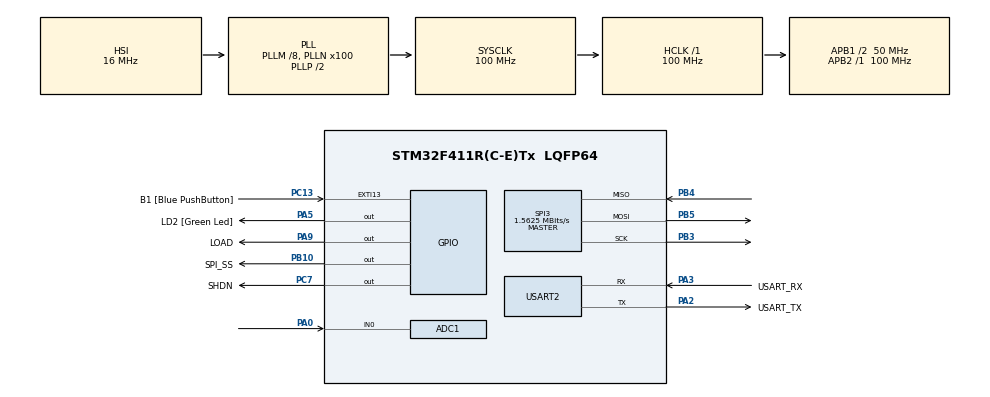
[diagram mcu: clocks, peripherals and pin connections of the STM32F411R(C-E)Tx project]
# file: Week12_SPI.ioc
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Mcu.Family=STM32F4
PB10.PinState=GPIO_PIN_SET
RCC.CortexFreq_Value=100000000
SPI3.Direction=SPI_DIRECTION_2LINES
SPI3.VirtualType=VM_MASTER
PA14.GPIO_Label=TCK
RCC.SYSCLKSource=RCC_SYSCLKSOURCE_PLLCLK
ProjectManager.StackSize=0x400
NVIC.ADC_IRQn=true\:0\:0\:false\:false\:true\:true\:true
PH0\ -\ OSC_IN.Signal=RCC_OSC_IN
RCC.HCLKFreq_Value=100000000
RCC.APB2TimFreq_Value=100000000
TIM3.Period=100
Dma.ADC1.0.Direction=DMA_PERIPH_TO_MEMORY
PC7.Signal=GPIO_Output
ADC1.InjNumberOfConversion=1
NVIC.DMA2_Stream0_IRQn=true\:0\:0\:false\:false\:true\:false\:true
Dma.ADC1.0.MemDataAlignment=DMA_MDATAALIGN_HALFWORD
RCC.AHBFreq_Value=100000000
SPI3.DataSize=SPI_DATASIZE_16BIT
NVIC.TIM1_TRG_COM_TIM11_IRQn=true\:0\:0\:false\:false\:true\:true\:true
RCC.HSE_VALUE=8000000
PB3.Mode=Full_Duplex_Master
ADC1.ScanConvMode=ENABLE
PC13-ANTI_TAMP.Signal=GPXTI13
PB4.Mode=Full_Duplex_Master
PC14-OSC32_IN.Mode=LSE-External-Oscillator
PA14.Mode=Serial_Wire
TIM3.Prescaler=99
Dma.ADC1.0.PeriphInc=DMA_PINC_DISABLE
PB5.Mode=Full_Duplex_Master
PC7.PinState=GPIO_PIN_SET
SH.ADCx_IN0.0=ADC1_IN0,IN0
RCC.FLatency-AdvancedSettings=FLASH_LATENCY_3
Mcu.Package=LQFP64
SPI3.Mode=SPI_MODE_MASTER
USART2.VirtualMode=VM_ASYNC
PA2.GPIO_Label=USART_TX
NVIC.SPI3_IRQn=true\:0\:0\:false\:false\:true\:true\:true
RCC.APB1TimFreq_Value=100000000
Dma.ADC1.0.FIFOMode=DMA_FIFOMODE_DISABLE
Dma.Request0=ADC1
ADC1.SamplingTime-2\#ChannelInjectedConversion=ADC_SAMPLETIME_3CYCLES
VP_TIM3_VS_ClockSourceINT.Mode=Internal
PB4.Signal=SPI3_MISO
PA3.Signal=USART2_RX
PC15-OSC32_OUT.Mode=LSE-External-Oscillator
Dma.ADC1.0.Instance=DMA2_Stream0
PC13-ANTI_TAMP.GPIO_Label=B1 [Blue PushButton]
PA9.GPIO_Label=LOAD
PH1\ -\ OSC_OUT.Mode=HSE-External-Clock-Source
TIM11.Prescaler=99
RCC.APB1CLKDivider=RCC_HCLK_DIV2
PC14-OSC32_IN.Signal=RCC_OSC32_IN
NVIC.USART2_IRQn=true\:0\:0\:false\:false\:true\:true\:true
PA0-WKUP.Signal=ADCx_IN0
VP_TIM11_VS_ClockSourceINT.Mode=Enable_Timer
PA13.Signal=SYS_JTMS-SWDIO
PA3.Mode=Asynchronous
Dma.ADC1.0.PeriphDataAlignment=DMA_PDATAALIGN_HALFWORD
PH0\ -\ OSC_IN.Mode=HSE-External-Clock-Source
ProjectManager.TargetToolchain=STM32CubeIDE
PB10.GPIO_Label=SPI_SS
Dma.ADC1.0.Mode=DMA_CIRCULAR
ADC1.Channel-2\#ChannelInjectedConversion=ADC_CHANNEL_0
Dma.ADC1.0.Priority=DMA_PRIORITY_LOW
PA9.Signal=GPIO_Output
ADC1.InjectedOffset-2\#ChannelInjectedConversion=0
ADC1.Channel-1\#ChannelRegularConversion=ADC_CHANNEL_0
PA9.PinState=GPIO_PIN_SET
PC15-OSC32_OUT.Signal=RCC_OSC32_OUT
PB10.Signal=GPIO_Output
PA5.Signal=GPIO_Output
PH1\ -\ OSC_OUT.Signal=RCC_OSC_OUT
board=NUCLEO-F411RE
RCC.VCOOutputFreq_Value=200000000
RCC.APB2Freq_Value=100000000
SPI3.CalculateBaudRate=1.5625 MBits/s
SPI3.BaudRatePrescaler=SPI_BAUDRATEPRESCALER_32
ADC1.DMAContinuousRequests=ENABLE
PA13.Mode=Serial_Wire
Mcu.Name=STM32F411R(C-E)Tx
PA2.Signal=USART2_TX
PA13.GPIO_Label=TMS
ADC1.ExternalTrigConv=ADC_EXTERNALTRIGCONV_T3_TRGO
PC7.GPIO_Label=SHDN
RCC.48MHZClocksFreq_Value=50000000
PB3.Signal=SPI3_SCK
ADC1.SamplingTime-1\#ChannelRegularConversion=ADC_SAMPLETIME_3CYCLES
RCC.SYSCLKFreq_VALUE=100000000
PB5.Signal=SPI3_MOSI
ADC1.master=1
PA5.GPIO_Label=LD2 [Green Led]
PC13-ANTI_TAMP.GPIO_ModeDefaultEXTI=GPIO_MODE_IT_FALLING
ADC1.Rank-1\#ChannelRegularConversion=1
PA14.Signal=SYS_JTCK-SWCLK
Dma.ADC1.0.MemInc=DMA_MINC_ENABLE
ProjectManager.HeapSize=0x200
RCC.HSI_VALUE=16000000
NVIC.PriorityGroup=NVIC_PRIORITYGROUP_0
ADC1.NbrOfConversionFlag=1
RCC.PLLM=8
RCC.PLLN=100
PA2.Mode=Asynchronous
TIM3.TIM_MasterOutputTrigger=TIM_TRGO_UPDATE
RCC.APB1Freq_Value=50000000
PA3.GPIO_Label=USART_RX
ADC1.InjectedRank-2\#ChannelInjectedConversion=1

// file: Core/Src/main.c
/* USER CODE BEGIN Header */
/**
 ******************************************************************************
 * @file           : main.c
 * @brief          : Main program body
 ******************************************************************************
 * @attention
 *
 * <h2><center>&copy; Copyright (c) 2021 STMicroelectronics.
 * All rights reserved.</center></h2>
 *
 * This software component is licensed by ST under BSD 3-Clause license,
 * the "License"; You may not use this file except in compliance with the
 * License. You may obtain a copy of the License at:
 *                        opensource.org/licenses/BSD-3-Clause
 *
 ******************************************************************************
 */
/* USER CODE END Header */
#include "main.h"

/* USER CODE BEGIN Includes */
#include <math.h>
#include <stdio.h>
#include <string.h>
/* USER CODE END Includes */

ADC_HandleTypeDef hadc1;
DMA_HandleTypeDef hdma_adc1;

SPI_HandleTypeDef hspi3;

TIM_HandleTypeDef htim3;
TIM_HandleTypeDef htim11;

UART_HandleTypeDef huart2;

/* USER CODE BEGIN PV */
// Setup Board output ------------------------------------------------------------------------------------
int WaveFreq[3] = {10 ,10 ,10};			// sawtooth ,sine , square in 1Hz
int WaveVhigh[3] = {33 ,33 ,33};	// sawtooth ,sine , square
int WaveVlow[3] = {0 ,0 ,0};	// sawtooth ,sine , square
float Rad = 0;				// for sine wave
uint8_t WaveSawIsUp = 1;	// for sawtooth wave
int DutyCycle = 50;		// for square wave
uint32_t WaveTimestamp = 0;

float Vout = 0;

// Setup UART --------------------------------------------------------------------------------------------
char TxDataBuffer[32] = { 0 };
char RxDataBuffer[32] = { 0 };

// Setup ADC ---------------------------------------------------------------------------------------------
uint16_t ADCin = 0;
uint64_t _micro = 0;		// time counter

// MCP4922 Communication format --------------------------------------------------------------------------
uint16_t dataOut = 0;		// data
uint8_t DACConfig = 0b0011;	// start form 1xdata

// Setup State -------------------------------------------------------------------------------------------
typedef enum{
	selectWave 		 = 0,
	WaitSelect 		 = 9,
	WaveSawtooth 	 = 10,
	WaitSawSelect 	 = 15,
	WaveSine 		 = 20,
	WaitSineSelect 	 = 25,
	WaveSquare 		 = 30,
	WaitSquareSelect = 35
}Mode;
/* USER CODE END PV */

void SystemClock_Config(void);
static void MX_GPIO_Init(void);
static void MX_DMA_Init(void);
static void MX_USART2_UART_Init(void);
static void MX_ADC1_Init(void);
static void MX_SPI3_Init(void);
static void MX_TIM3_Init(void);
static void MX_TIM11_Init(void);
/* USER CODE BEGIN PFP */
void MCP4922SetOutput(uint8_t Config, uint16_t DACOutput);
uint64_t micros();
int16_t UARTRecieveIT();
/* USER CODE END PFP */

int main(void)
{

  /* MCU Configuration--------------------------------------------------------*/

  /* Reset of all peripherals, Initializes the Flash interface and the Systick. */
  HAL_Init();

  /* Configure the system clock */
  SystemClock_Config();

  /* Initialize all configured peripherals */
  MX_GPIO_Init();
  MX_DMA_Init();
  MX_USART2_UART_Init();
  MX_ADC1_Init();
  MX_SPI3_Init();
  MX_TIM3_Init();
  MX_TIM11_Init();
  /* USER CODE BEGIN 2 */
	HAL_TIM_Base_Start(&htim3);
	HAL_TIM_Base_Start_IT(&htim11);
	HAL_ADC_Start_DMA(&hadc1, (uint32_t*) &ADCin, 1);

	HAL_GPIO_WritePin(LOAD_GPIO_Port, LOAD_Pin, GPIO_PIN_RESET);
int	State = selectWave;

	{ // for local parameter --> more memories
		char temp[] = "Turn on mini-function generator and osciloscope \r\n";
		HAL_UART_Transmit(&huart2, (uint8_t*) temp, strlen(temp), 100);
	}
  /* USER CODE END 2 */

  /* Infinite loop */
  /* USER CODE BEGIN WHILE */
	while (1)
	{
// Communication part -------------------------------------------------------------------------------------
		HAL_UART_Receive_IT(&huart2, (uint8_t*) RxDataBuffer, 32);
		int16_t inputchar = UARTRecieveIT();
		if (inputchar != -1) {

			sprintf(TxDataBuffer, "ReceivedChar:[%c]\r\n", inputchar);
			HAL_UART_Transmit(&huart2, (uint8_t*) TxDataBuffer,strlen(TxDataBuffer), 1000);
		}// for check by looking at monitor
// GUI part -----------------------------------------------------------------------------------------------
		switch(State){
			case(selectWave):
				sprintf(TxDataBuffer, "----Please select wave form----\n\r");
				HAL_UART_Transmit(&huart2, (uint8_t*) TxDataBuffer,strlen(TxDataBuffer), 100);
				sprintf(TxDataBuffer, "[1]:Sawtooth     [2]:Sine     [3]:Square \n\n\r");
				HAL_UART_Transmit(&huart2, (uint8_t*) TxDataBuffer,strlen(TxDataBuffer), 100);
				State = WaitSelect;
				break;
			case(WaitSelect):
					dataOut = 0;
				if (hspi3.State == HAL_SPI_STATE_READY && HAL_GPIO_ReadPin(SPI_SS_GPIO_Port, SPI_SS_Pin)== GPIO_PIN_SET)
					{
						MCP4922SetOutput(DACConfig, dataOut);
					}
				switch(inputchar){
					case -1:
						break;
					case '1':
						State = WaveSawtooth;
						break;
					case '2':
						State = WaveSine;
						break;
					case '3':
						State = WaveSquare;
						break;
					default:
						sprintf(TxDataBuffer, "press only [1] ,[2] or [3] \n\n\r");
						HAL_UART_Transmit(&huart2, (uint8_t*) TxDataBuffer,strlen(TxDataBuffer), 100);
						State = WaitSelect;
						break;
					}
				break;
// Sawtooth wave ---------------------------------------------------------------------------------------
			case(WaveSawtooth):
				if(WaveSawIsUp == 1){
					sprintf(TxDataBuffer, "Wave form: Sawtooth\n\r");
					HAL_UART_Transmit(&huart2, (uint8_t*) TxDataBuffer,strlen(TxDataBuffer), 100);
					sprintf(TxDataBuffer, "[-a.s] V_high: %d.%d V [+q.w]		[-d.f] V_low: %d.%d V [+e.r]\n\r",WaveVhigh[0]/10 ,WaveVhigh[0]%10 ,WaveVlow[0]/10 ,WaveVlow[0]%10);
					HAL_UART_Transmit(&huart2, (uint8_t*) TxDataBuffer,strlen(TxDataBuffer), 1000);
					sprintf(TxDataBuffer, "[-g.h] Frequency: %d.%d Hz [+t.y]	[z] type: Up sawtooth\n\r",WaveFreq[0]/10 ,WaveFreq[0]%10);
					HAL_UART_Transmit(&huart2, (uint8_t*) TxDataBuffer,strlen(TxDataBuffer), 1000);
					sprintf(TxDataBuffer, "[x] back to select wave from\n\n\r");
					HAL_UART_Transmit(&huart2, (uint8_t*) TxDataBuffer,strlen(TxDataBuffer), 100);
					dataOut = WaveVlow[1]*4096/33;
				}
				else if(WaveSawIsUp == 0){
					sprintf(TxDataBuffer, "Wave form: Sawtooth\n\r");
					HAL_UART_Transmit(&huart2, (uint8_t*) TxDataBuffer,strlen(TxDataBuffer), 100);
					sprintf(TxDataBuffer, "[-a.s] V_high: %d.%d V [+q.w]		[-d.f] V_low: %d.%d V [+e.r]\n\r",WaveVhigh[0]/10 ,WaveVhigh[0]%10 ,WaveVlow[0]/10 ,WaveVlow[0]%10);
					HAL_UART_Transmit(&huart2, (uint8_t*) TxDataBuffer,strlen(TxDataBuffer), 1000);
					sprintf(TxDataBuffer, "[-g.h] Frequency: %d.%d Hz [+t.y]	[z] type: Down sawtooth\n\r",WaveFreq[0]/10 ,WaveFreq[0]%10);
					HAL_UART_Transmit(&huart2, (uint8_t*) TxDataBuffer,strlen(TxDataBuffer), 1000);
					sprintf(TxDataBuffer, "[x] back to select wave from\n\n\r");
					HAL_UART_Transmit(&huart2, (uint8_t*) TxDataBuffer,strlen(TxDataBuffer), 100);
					dataOut = WaveVhigh[1]*4096/33;
				}
				WaveTimestamp = micros();
				State = WaitSawSelect;
				break;
			case(WaitSawSelect):
				if(WaveSawIsUp == 1)
				{
					if (micros() - WaveTimestamp >= (1000000/(((WaveVhigh[0] - WaveVlow[0])*4096/(float)33)*(WaveFreq[0]/(float)10))))
					{
						WaveTimestamp = micros();
						if(dataOut >= WaveVhigh[0]*4096/33)
						{
							dataOut = WaveVlow[0]*4096/33;
						}
						else{
							dataOut += 1;
						}
						if (hspi3.State == HAL_SPI_STATE_READY && HAL_GPIO_ReadPin(SPI_SS_GPIO_Port, SPI_SS_Pin) == GPIO_PIN_SET)
						{
							MCP4922SetOutput(DACConfig, dataOut);
						}
					}
				}
				else
				{
					if (micros() - WaveTimestamp >= (1000000/(((WaveVhigh[0] - WaveVlow[0])*4096/(float)33)*(WaveFreq[0]/(float)10))))
					{
						WaveTimestamp = micros();
						if(dataOut <= WaveVlow[0]*4096/33)
						{
							dataOut = WaveVhigh[0]*4096/33;
						}
						else{
							dataOut -= 1;
						}
						if (hspi3.State == HAL_SPI_STATE_READY && HAL_GPIO_ReadPin(SPI_SS_GPIO_Port, SPI_SS_Pin) == GPIO_PIN_SET)
						{
							MCP4922SetOutput(DACConfig, dataOut);
						}
					}
				}
				switch(inputchar){
					case -1:
						break;
					case 'a':
						WaveVhigh[0] -= 10;
						if(WaveVhigh[0] <= WaveVlow[0])
						{
							sprintf(TxDataBuffer, "V_high can not be less than or equal to V_low\n\n\r");
							HAL_UART_Transmit(&huart2, (uint8_t*) TxDataBuffer,strlen(TxDataBuffer), 100);
							WaveVhigh[0] += 10;
							dataOut = WaveVlow[0]*4096/33;
						}
						State = WaveSawtooth;
						break;
					case 's':
						WaveVhigh[0] -= 1;
						if(WaveVhigh[0] <= WaveVlow[0])
						{
							sprintf(TxDataBuffer, "V_high can not be less than or equal to V_low\n\n\r");
							HAL_UART_Transmit(&huart2, (uint8_t*) TxDataBuffer,strlen(TxDataBuffer), 100);
							WaveVhigh[0] += 1;
							dataOut = WaveVlow[0]*4096/33;
						}
						State = WaveSawtooth;
						break;
					case 'q':
						WaveVhigh[0] += 10;
						if(WaveVhigh[0] > 33)
						{
							sprintf(TxDataBuffer, "V_high can not be more than 3.3 V\n\n\r");
							HAL_UART_Transmit(&huart2, (uint8_t*) TxDataBuffer,strlen(TxDataBuffer), 100);
							WaveVhigh[0] -= 10;
							dataOut = WaveVlow[0]*4096/33;
						}
						State = WaveSawtooth;
						break;
					case 'w':
						WaveVhigh[0] += 1;
						if(WaveVhigh[0] > 33)
						{
							sprintf(TxDataBuffer, "V_high can not be more than 3.3 V\n\n\r");
							HAL_UART_Transmit(&huart2, (uint8_t*) TxDataBuffer,strlen(TxDataBuffer), 100);
							WaveVhigh[0] -= 1;
							dataOut = WaveVlow[0]*4096/33;
						}
						State = WaveSawtooth;
						break;
					case 'd':
						WaveVlow[0] -= 10;
						if(WaveVlow[0] < 0)
						{
							sprintf(TxDataBuffer, "V_low can not be less than 0.0 V\n\n\r");
							HAL_UART_Transmit(&huart2, (uint8_t*) TxDataBuffer,strlen(TxDataBuffer), 100);
							WaveVlow[0] += 10;
							dataOut = WaveVlow[0]*4096/33;
						}
						State = WaveSawtooth;
						break;
					case 'f':
						WaveVlow[0] -= 1;
						if(WaveVlow[0] < 0)
						{
							sprintf(TxDataBuffer, "V_low can not be less than 0.0 V\n\n\r");
							HAL_UART_Transmit(&huart2, (uint8_t*) TxDataBuffer,strlen(TxDataBuffer), 100);
							WaveVlow[0] += 1;
							dataOut = WaveVlow[0]*4096/33;
						}
						State = WaveSawtooth;
						break;
					case 'e':
						WaveVlow[0] += 10;
						if(WaveVlow[0] >= WaveVhigh[0])
						{
							sprintf(TxDataBuffer, "V_low can not be more than or equal to V_high\n\n\r");
							HAL_UART_Transmit(&huart2, (uint8_t*) TxDataBuffer,strlen(TxDataBuffer), 100);
							WaveVlow[0] -= 10;
							dataOut = WaveVlow[0]*4096/33;
						}
						State = WaveSawtooth;
						break;
					case 'r':
						WaveVlow[0] += 1;
						if(WaveVlow[0] >= WaveVhigh[0])
						{
							sprintf(TxDataBuffer, "V_low can not be more than or equal to V_high\n\n\r");
							HAL_UART_Transmit(&huart2, (uint8_t*) TxDataBuffer,strlen(TxDataBuffer), 100);
							WaveVlow[0] -= 1;
						}
						State = WaveSawtooth;
						break;
					case 'g':
						WaveFreq[0] -= 10;
						if(WaveFreq[0] < 0)
						{
							sprintf(TxDataBuffer, "Frequency can not be lass than 0 Hz\n\n\r");
							HAL_UART_Transmit(&huart2, (uint8_t*) TxDataBuffer,strlen(TxDataBuffer), 100);
							WaveFreq[0] += 10;
						}
						State = WaveSawtooth;
						break;
					case 'h':
						WaveFreq[0] -= 1;
						if(WaveFreq[0] < 0)
						{
							sprintf(TxDataBuffer, "Frequency can not be lass than 0 Hz\n\n\r");
							HAL_UART_Transmit(&huart2, (uint8_t*) TxDataBuffer,strlen(TxDataBuffer), 100);
							WaveFreq[0] += 1;
						}
						State = WaveSawtooth;
						break;
					case 't':
						WaveFreq[0] += 10;
						if(WaveFreq[0] > 100)
						{
							sprintf(TxDataBuffer, "Frequency can not be more than 10.0 Hz\n\n\r");
							HAL_UART_Transmit(&huart2, (uint8_t*) TxDataBuffer,strlen(TxDataBuffer), 100);
							WaveFreq[0] -= 10;
						}
						State = WaveSawtooth;
						break;
					case 'y':
						WaveFreq[0] += 1;
						if(WaveFreq[0] > 100)
						{
							sprintf(TxDataBuffer, "Frequency can not be more than 10.0 Hz\n\n\r");
							HAL_UART_Transmit(&huart2, (uint8_t*) TxDataBuffer,strlen(TxDataBuffer), 100);
							WaveFreq[0] -= 1;
						}
						State = WaveSawtooth;
						break;
					case 'z':
						if(WaveSawIsUp == 0){
							WaveSawIsUp = 1;
						}
						else{
							WaveSawIsUp = 0;
						}
						State = WaveSawtooth;
						break;
					case 'x':
						State = selectWave;
						break;
				State = WaitSawSelect;
				break;
		}break;

// Sine wave ---------------------------------------------------------------------------------------
			case(WaveSine):
				sprintf(TxDataBuffer, "Wave form: Sine\n\r");
				HAL_UART_Transmit(&huart2, (uint8_t*) TxDataBuffer,strlen(TxDataBuffer), 100);
				sprintf(TxDataBuffer, "[-a.s] V_high: %d.%d V [+q.w]		[-d.f] V_low: %d.%d V [+e.r]\n\r",WaveVhigh[1]/10 ,WaveVhigh[1]%10 ,WaveVlow[1]/10 ,WaveVlow[1]%10);
				HAL_UART_Transmit(&huart2, (uint8_t*) TxDataBuffer,strlen(TxDataBuffer), 1000);
				sprintf(TxDataBuffer, "[-g.h] Frequency: %d.%d Hz [+t.y]\n\r",WaveFreq[1]/10 ,WaveFreq[1]%10);
				HAL_UART_Transmit(&huart2, (uint8_t*) TxDataBuffer,strlen(TxDataBuffer), 1000);
				sprintf(TxDataBuffer, "[x] back to select wave from\n\n\r");
				HAL_UART_Transmit(&huart2, (uint8_t*) TxDataBuffer,strlen(TxDataBuffer), 100);
				dataOut = WaveVlow[1]*4096/33;
				WaveTimestamp = micros();
				State = WaitSineSelect;
				break;
			case(WaitSineSelect):
				if (micros() - WaveTimestamp >= 1000/6.28) // convert to 1 second in 2pi
				{
					WaveTimestamp = micros();
					Rad += 0.001;
					dataOut = (sin(Rad*WaveFreq[1]/10) * (((WaveVhigh[1] - WaveVlow[1])*4096/33)/2)) + (((WaveVhigh[1] - WaveVlow[1])*4096/33)/2) + (WaveVlow[1]*4096/33);
					if (hspi3.State == HAL_SPI_STATE_READY && HAL_GPIO_ReadPin(SPI_SS_GPIO_Port, SPI_SS_Pin) == GPIO_PIN_SET)
					{
						MCP4922SetOutput(DACConfig, dataOut);
					}
				}
				switch(inputchar){
					case -1:
						break;
					case 'a':
						WaveVhigh[1] -= 10;
						if(WaveVhigh[1] <= WaveVlow[1])
						{
							sprintf(TxDataBuffer, "V_high can not be less than or equal to V_low\n\n\r");
							HAL_UART_Transmit(&huart2, (uint8_t*) TxDataBuffer,strlen(TxDataBuffer), 100);
							WaveVhigh[1] += 10;
						}
						State = WaveSine;
						break;
					case 's':
						WaveVhigh[1] -= 1;
						if(WaveVhigh[1] <= WaveVlow[1])
						{
							sprintf(TxDataBuffer, "V_high can not be less than or equal to V_low\n\n\r");
							HAL_UART_Transmit(&huart2, (uint8_t*) TxDataBuffer,strlen(TxDataBuffer), 100);
							WaveVhigh[1] += 1;
						}
						State = WaveSine;
						break;
					case 'q':
						WaveVhigh[1] += 10;
						if(WaveVhigh[1] > 33)
						{
							sprintf(TxDataBuffer, "V_high can not be more than 3.3 V\n\n\r");
							HAL_UART_Transmit(&huart2, (uint8_t*) TxDataBuffer,strlen(TxDataBuffer), 100);
							WaveVhigh[1] -= 10;
						}
						State = WaveSine;
						break;
					case 'w':
						WaveVhigh[1] += 1;
						if(WaveVhigh[1] > 33)
						{
							sprintf(TxDataBuffer, "V_high can not be more than 3.3 V\n\n\r");
							HAL_UART_Transmit(&huart2, (uint8_t*) TxDataBuffer,strlen(TxDataBuffer), 100);
							WaveVhigh[1] -= 1;
						}
						State = WaveSine;
						break;
					case 'd':
						WaveVlow[1] -= 10;
						if(WaveVlow[1] < 0)
						{
							sprintf(TxDataBuffer, "V_low can not be less than 0.0 V\n\n\r");
							HAL_UART_Transmit(&huart2, (uint8_t*) TxDataBuffer,strlen(TxDataBuffer), 100);
							WaveVlow[1] += 10;
						}
						State = WaveSine;
						break;
					case 'f':
						WaveVlow[1] -= 1;
						if(WaveVlow[1] < 0)
						{
							sprintf(TxDataBuffer, "V_low can not be less than 0.0 V\n\n\r");
							HAL_UART_Transmit(&huart2, (uint8_t*) TxDataBuffer,strlen(TxDataBuffer), 100);
							WaveVlow[1] += 1;
						}
						State = WaveSine;
						break;
					case 'e':
						WaveVlow[1] += 10;
						if(WaveVlow[1] >= WaveVhigh[1])
						{
							sprintf(TxDataBuffer, "V_low can not be more than or equal to V_high\n\n\r");
							HAL_UART_Transmit(&huart2, (uint8_t*) TxDataBuffer,strlen(TxDataBuffer), 100);
							WaveVlow[1] -= 10;
						}
						State = WaveSine;
						break;
					case 'r':
						WaveVlow[1] += 1;
						if(WaveVlow[1] >= WaveVhigh[1])
						{
							sprintf(TxDataBuffer, "V_low can not be more than or equal to V_high\n\n\r");
							HAL_UART_Transmit(&huart2, (uint8_t*) TxDataBuffer,strlen(TxDataBuffer), 100);
							WaveVlow[1] -= 1;
						}
						State = WaveSine;
						break;
					case 'g':
						WaveFreq[1] -= 10;
						if(WaveFreq[1] < 0)
						{
							sprintf(TxDataBuffer, "Frequency can not be lass than 0 Hz\n\n\r");
							HAL_UART_Transmit(&huart2, (uint8_t*) TxDataBuffer,strlen(TxDataBuffer), 100);
							WaveFreq[1] += 10;
						}
						State = WaveSine;
						break;
					case 'h':
						WaveFreq[1] -= 1;
						if(WaveFreq[1] < 0)
						{
							sprintf(TxDataBuffer, "Frequency can not be lass than 0 Hz\n\n\r");
							HAL_UART_Transmit(&huart2, (uint8_t*) TxDataBuffer,strlen(TxDataBuffer), 100);
							WaveFreq[1] += 1;
						}
						State = WaveSine;
						break;
					case 't':
						WaveFreq[1] += 10;
						if(WaveFreq[1] > 100)
						{
							sprintf(TxDataBuffer, "Frequency can not be more than 10.0 Hz\n\n\r");
							HAL_UART_Transmit(&huart2, (uint8_t*) TxDataBuffer,strlen(TxDataBuffer), 100);
							WaveFreq[1] -= 10;
						}
						State = WaveSine;
						break;
					case 'y':
						WaveFreq[1] += 1;
						if(WaveFreq[1] > 100)
						{
							sprintf(TxDataBuffer, "Frequency can not be more than 10.0 Hz\n\n\r");
							HAL_UART_Transmit(&huart2, (uint8_t*) TxDataBuffer,strlen(TxDataBuffer), 100);
							WaveFreq[1] -= 1;
						}
						State = WaveSine;
						break;
					case 'x':
						State = selectWave;
						break;
				State = WaitSineSelect;
				break;
				}break;
// Square wave ---------------------------------------------------------------------------------------
			case(WaveSquare):
				sprintf(TxDataBuffer, "Wave form: Square\n\r");
				HAL_UART_Transmit(&huart2, (uint8_t*) TxDataBuffer,strlen(TxDataBuffer), 100);
				sprintf(TxDataBuffer, "[-a.s] V_high: %d.%d V [+q.w]		[-d.f] V_low: %d.%d V [+e.r]\n\r",WaveVhigh[2]/10 ,WaveVhigh[2]%10 ,WaveVlow[2]/10 ,WaveVlow[2]%10);
				HAL_UART_Transmit(&huart2, (uint8_t*) TxDataBuffer,strlen(TxDataBuffer), 1000);
				sprintf(TxDataBuffer, "[-g.h] Frequency: %d.%d Hz [+t.y]	[-j k] Duty cycle: %d %% [+u i]\n\r",WaveFreq[2]/10 ,WaveFreq[2]%10 ,DutyCycle);
				HAL_UART_Transmit(&huart2, (uint8_t*) TxDataBuffer,strlen(TxDataBuffer), 1000);
				sprintf(TxDataBuffer, "[x] back to select wave from\n\n\r");
				HAL_UART_Transmit(&huart2, (uint8_t*) TxDataBuffer,strlen(TxDataBuffer), 100);
				dataOut = WaveVlow[2]*4096/33;
				WaveTimestamp = micros();
				State = WaitSquareSelect;
				break;
			case(WaitSquareSelect):
				if(dataOut == WaveVhigh[2]*4095/33){
					if (micros() - WaveTimestamp >= 1000000*(DutyCycle/(float)100)/(WaveFreq[2]/(float)10))
					{
						WaveTimestamp = micros();
						dataOut = WaveVlow[2]*4096/33;
					}
				}
				else{
					if (micros() - WaveTimestamp >= 1000000*((100 - DutyCycle)/(float)100)/(WaveFreq[2]/(float)10))
						{
							WaveTimestamp = micros();
							dataOut = WaveVhigh[2]*4095/33;
						}
				}
				if (hspi3.State == HAL_SPI_STATE_READY && HAL_GPIO_ReadPin(SPI_SS_GPIO_Port, SPI_SS_Pin) == GPIO_PIN_SET)
				{
					MCP4922SetOutput(DACConfig, dataOut);
				}

				switch(inputchar){
					case -1:
						break;
					case 'a':
						WaveVhigh[2] -= 10;
						if(WaveVhigh[2] <= WaveVlow[2])
						{
							sprintf(TxDataBuffer, "V_high can not be less than or equal to V_low\n\n\r");
							HAL_UART_Transmit(&huart2, (uint8_t*) TxDataBuffer,strlen(TxDataBuffer), 100);
							WaveVhigh[2] += 10;
							dataOut = WaveVlow[2]*4096/33;
						}
						State = WaveSquare;
						break;
					case 's':
						WaveVhigh[2] -= 1;
						if(WaveVhigh[2] <= WaveVlow[2])
						{
							sprintf(TxDataBuffer, "V_high can not be less than or equal to V_low\n\n\r");
							HAL_UART_Transmit(&huart2, (uint8_t*) TxDataBuffer,strlen(TxDataBuffer), 100);
							WaveVhigh[0] += 1;
							dataOut = WaveVlow[2]*4096/33;
						}
						State = WaveSquare;
						break;
					case 'q':
						WaveVhigh[2] += 10;
						if(WaveVhigh[2] > 33)
						{
							sprintf(TxDataBuffer, "V_high can not be more than 3.3 V\n\n\r");
							HAL_UART_Transmit(&huart2, (uint8_t*) TxDataBuffer,strlen(TxDataBuffer), 100);
							WaveVhigh[2] -= 10;
							dataOut = WaveVlow[2]*4096/33;
						}
						State = WaveSquare;
						break;
					case 'w':
						WaveVhigh[2] += 1;
						if(WaveVhigh[2] > 33)
						{
							sprintf(TxDataBuffer, "V_high can not be more than 3.3 V\n\n\r");
							HAL_UART_Transmit(&huart2, (uint8_t*) TxDataBuffer,strlen(TxDataBuffer), 100);
							WaveVhigh[2] -= 1;
							dataOut = WaveVlow[2]*4096/33;
						}
						State = WaveSquare;
						break;
					case 'd':
						WaveVlow[2] -= 10;
						if(WaveVlow[2] < 0)
						{
							sprintf(TxDataBuffer, "V_low can not be less than 0.0 V\n\n\r");
							HAL_UART_Transmit(&huart2, (uint8_t*) TxDataBuffer,strlen(TxDataBuffer), 100);
							WaveVlow[2] += 10;
							dataOut = WaveVlow[2]*4096/33;
						}
						State = WaveSquare;
						break;
					case 'f':
						WaveVlow[2] -= 1;
						if(WaveVlow[2] < 0)
						{
							sprintf(TxDataBuffer, "V_low can not be less than 0.0 V\n\n\r");
							HAL_UART_Transmit(&huart2, (uint8_t*) TxDataBuffer,strlen(TxDataBuffer), 100);
							WaveVlow[2] += 1;
							dataOut = WaveVlow[2]*4096/33;
						}
						State = WaveSquare;
						break;
					case 'e':
						WaveVlow[2] += 10;
						if(WaveVlow[2] >= WaveVhigh[0])
						{
							sprintf(TxDataBuffer, "V_low can not be more than or equal to V_high\n\n\r");
							HAL_UART_Transmit(&huart2, (uint8_t*) TxDataBuffer,strlen(TxDataBuffer), 100);
							WaveVlow[2] -= 10;
							dataOut = WaveVlow[2]*4096/33;
						}
						State = WaveSquare;
						break;
					case 'r':
						WaveVlow[2] += 1;
						if(WaveVlow[2] >= WaveVhigh[2])
						{
							sprintf(TxDataBuffer, "V_low can not be more than or equal to V_high\n\n\r");
							HAL_UART_Transmit(&huart2, (uint8_t*) TxDataBuffer,strlen(TxDataBuffer), 100);
							WaveVlow[2] -= 1;
						}
						State = WaveSquare;
						break;
					case 'g':
						WaveFreq[2] -= 10;
						if(WaveFreq[2] < 0)
						{
							sprintf(TxDataBuffer, "Frequency can not be lass than 0 Hz\n\n\r");
							HAL_UART_Transmit(&huart2, (uint8_t*) TxDataBuffer,strlen(TxDataBuffer), 100);
							WaveFreq[2] += 10;
						}
						State = WaveSquare;
						break;
					case 'h':
						WaveFreq[2] -= 1;
						if(WaveFreq[2] < 0)
						{
							sprintf(TxDataBuffer, "Frequency can not be lass than 0 Hz\n\n\r");
							HAL_UART_Transmit(&huart2, (uint8_t*) TxDataBuffer,strlen(TxDataBuffer), 100);
							WaveFreq[2] += 1;
						}
						State = WaveSquare;
						break;
					case 't':
						WaveFreq[2] += 10;
						if(WaveFreq[2] > 100)
						{
							sprintf(TxDataBuffer, "Frequency can not be more than 10.0 Hz\n\n\r");
							HAL_UART_Transmit(&huart2, (uint8_t*) TxDataBuffer,strlen(TxDataBuffer), 100);
							WaveFreq[2] -= 10;
						}
						State = WaveSquare;
						break;
					case 'y':
						WaveFreq[2] += 1;
						if(WaveFreq[2] > 100)
						{
							sprintf(TxDataBuffer, "Frequency can not be more than 10.0 Hz\n\n\r");
							HAL_UART_Transmit(&huart2, (uint8_t*) TxDataBuffer,strlen(TxDataBuffer), 100);
							WaveFreq[2] -= 1;
						}
						State = WaveSquare;
						break;
					case 'j':
						DutyCycle -= 10;
						if(DutyCycle < 0)
						{
							sprintf(TxDataBuffer, "Duty cycle can not be lass than 0 %%\n\n\r");
							HAL_UART_Transmit(&huart2, (uint8_t*) TxDataBuffer,strlen(TxDataBuffer), 100);
							DutyCycle += 10;
						}
						State = WaveSquare;
						break;
					case 'k':
						DutyCycle -= 1;
						if(DutyCycle < 0)
						{
							sprintf(TxDataBuffer, "Duty cycle can not be lass than 0 %%\n\n\r");
							HAL_UART_Transmit(&huart2, (uint8_t*) TxDataBuffer,strlen(TxDataBuffer), 100);
							DutyCycle += 1;
						}
						State = WaveSquare;
						break;
					case 'u':
						DutyCycle += 10;
						if(DutyCycle > 100)
						{
							sprintf(TxDataBuffer, "Duty cycle can not be more than 100 %%\n\n\r");
							HAL_UART_Transmit(&huart2, (uint8_t*) TxDataBuffer,strlen(TxDataBuffer), 100);
							DutyCycle -= 10;
						}
						State = WaveSquare;
						break;
					case 'i':
						DutyCycle += 1;
						if(DutyCycle > 100)
						{
							sprintf(TxDataBuffer, "Duty cycle can not be more than 100 %%\n\n\r");
							HAL_UART_Transmit(&huart2, (uint8_t*) TxDataBuffer,strlen(TxDataBuffer), 100);
							DutyCycle -= 1;
						}
						State = WaveSquare;
						break;
					case 'x':
						State = selectWave;
						break;
				State = WaitSawSelect;
				break;
				}break;
		}
//
    /* USER CODE END WHILE */

	}
}

void SystemClock_Config(void)
{
  RCC_OscInitTypeDef RCC_OscInitStruct = {0};
  RCC_ClkInitTypeDef RCC_ClkInitStruct = {0};

  /** Configure the main internal regulator output voltage
  */
  __HAL_RCC_PWR_CLK_ENABLE();
  __HAL_PWR_VOLTAGESCALING_CONFIG(PWR_REGULATOR_VOLTAGE_SCALE1);
  /** Initializes the RCC Oscillators according to the specified parameters
  * in the RCC_OscInitTypeDef structure.
  */
  RCC_OscInitStruct.OscillatorType = RCC_OSCILLATORTYPE_HSI;
  RCC_OscInitStruct.HSIState = RCC_HSI_ON;
  RCC_OscInitStruct.HSICalibrationValue = RCC_HSICALIBRATION_DEFAULT;
  RCC_OscInitStruct.PLL.PLLState = RCC_PLL_ON;
  RCC_OscInitStruct.PLL.PLLSource = RCC_PLLSOURCE_HSI;
  RCC_OscInitStruct.PLL.PLLM = 8;
  RCC_OscInitStruct.PLL.PLLN = 100;
  RCC_OscInitStruct.PLL.PLLP = RCC_PLLP_DIV2;
  RCC_OscInitStruct.PLL.PLLQ = 4;
  if (HAL_RCC_OscConfig(&RCC_OscInitStruct) != HAL_OK)
  {
    Error_Handler();
  }
  /** Initializes the CPU, AHB and APB buses clocks
  */
  RCC_ClkInitStruct.ClockType = RCC_CLOCKTYPE_HCLK|RCC_CLOCKTYPE_SYSCLK
                              |RCC_CLOCKTYPE_PCLK1|RCC_CLOCKTYPE_PCLK2;
  RCC_ClkInitStruct.SYSCLKSource = RCC_SYSCLKSOURCE_PLLCLK;
  RCC_ClkInitStruct.AHBCLKDivider = RCC_SYSCLK_DIV1;
  RCC_ClkInitStruct.APB1CLKDivider = RCC_HCLK_DIV2;
  RCC_ClkInitStruct.APB2CLKDivider = RCC_HCLK_DIV1;

  if (HAL_RCC_ClockConfig(&RCC_ClkInitStruct, FLASH_LATENCY_3) != HAL_OK)
  {
    Error_Handler();
  }
}

static void MX_ADC1_Init(void)
{

  ADC_ChannelConfTypeDef sConfig = {0};
  ADC_InjectionConfTypeDef sConfigInjected = {0};

  /** Configure the global features of the ADC (Clock, Resolution, Data Alignment and number of conversion)
  */
  hadc1.Instance = ADC1;
  hadc1.Init.ClockPrescaler = ADC_CLOCK_SYNC_PCLK_DIV4;
  hadc1.Init.Resolution = ADC_RESOLUTION_12B;
  hadc1.Init.ScanConvMode = ENABLE;
  hadc1.Init.ContinuousConvMode = DISABLE;
  hadc1.Init.DiscontinuousConvMode = DISABLE;
  hadc1.Init.ExternalTrigConvEdge = ADC_EXTERNALTRIGCONVEDGE_RISING;
  hadc1.Init.ExternalTrigConv = ADC_EXTERNALTRIGCONV_T3_TRGO;
  hadc1.Init.DataAlign = ADC_DATAALIGN_RIGHT;
  hadc1.Init.NbrOfConversion = 1;
  hadc1.Init.DMAContinuousRequests = ENABLE;
  hadc1.Init.EOCSelection = ADC_EOC_SINGLE_CONV;
  if (HAL_ADC_Init(&hadc1) != HAL_OK)
  {
    Error_Handler();
  }
  /** Configure for the selected ADC regular channel its corresponding rank in the sequencer and its sample time.
  */
  sConfig.Channel = ADC_CHANNEL_0;
  sConfig.Rank = 1;
  sConfig.SamplingTime = ADC_SAMPLETIME_3CYCLES;
  if (HAL_ADC_ConfigChannel(&hadc1, &sConfig) != HAL_OK)
  {
    Error_Handler();
  }
  /** Configures for the selected ADC injected channel its corresponding rank in the sequencer and its sample time
  */
  sConfigInjected.InjectedChannel = ADC_CHANNEL_0;
  sConfigInjected.InjectedRank = 1;
  sConfigInjected.InjectedNbrOfConversion = 1;
  sConfigInjected.InjectedSamplingTime = ADC_SAMPLETIME_3CYCLES;
  sConfigInjected.ExternalTrigInjecConvEdge = ADC_EXTERNALTRIGINJECCONVEDGE_NONE;
  sConfigInjected.ExternalTrigInjecConv = ADC_INJECTED_SOFTWARE_START;
  sConfigInjected.AutoInjectedConv = DISABLE;
  sConfigInjected.InjectedDiscontinuousConvMode = DISABLE;
  sConfigInjected.InjectedOffset = 0;
  if (HAL_ADCEx_InjectedConfigChannel(&hadc1, &sConfigInjected) != HAL_OK)
  {
    Error_Handler();
  }

}

static void MX_SPI3_Init(void)
{

  /* SPI3 parameter configuration*/
  hspi3.Instance = SPI3;
  hspi3.Init.Mode = SPI_MODE_MASTER;
  hspi3.Init.Direction = SPI_DIRECTION_2LINES;
  hspi3.Init.DataSize = SPI_DATASIZE_16BIT;
  hspi3.Init.CLKPolarity = SPI_POLARITY_LOW;
  hspi3.Init.CLKPhase = SPI_PHASE_1EDGE;
  hspi3.Init.NSS = SPI_NSS_SOFT;
  hspi3.Init.BaudRatePrescaler = SPI_BAUDRATEPRESCALER_32;
  hspi3.Init.FirstBit = SPI_FIRSTBIT_MSB;
  hspi3.Init.TIMode = SPI_TIMODE_DISABLE;
  hspi3.Init.CRCCalculation = SPI_CRCCALCULATION_DISABLE;
  hspi3.Init.CRCPolynomial = 10;
  if (HAL_SPI_Init(&hspi3) != HAL_OK)
  {
    Error_Handler();
  }

}

static void MX_TIM3_Init(void)
{

  TIM_ClockConfigTypeDef sClockSourceConfig = {0};
  TIM_MasterConfigTypeDef sMasterConfig = {0};

  htim3.Instance = TIM3;
  htim3.Init.Prescaler = 99;
  htim3.Init.CounterMode = TIM_COUNTERMODE_UP;
  htim3.Init.Period = 100;
  htim3.Init.ClockDivision = TIM_CLOCKDIVISION_DIV1;
  htim3.Init.AutoReloadPreload = TIM_AUTORELOAD_PRELOAD_DISABLE;
  if (HAL_TIM_Base_Init(&htim3) != HAL_OK)
  {
    Error_Handler();
  }
  sClockSourceConfig.ClockSource = TIM_CLOCKSOURCE_INTERNAL;
  if (HAL_TIM_ConfigClockSource(&htim3, &sClockSourceConfig) != HAL_OK)
  {
    Error_Handler();
  }
  sMasterConfig.MasterOutputTrigger = TIM_TRGO_UPDATE;
  sMasterConfig.MasterSlaveMode = TIM_MASTERSLAVEMODE_DISABLE;
  if (HAL_TIMEx_MasterConfigSynchronization(&htim3, &sMasterConfig) != HAL_OK)
  {
    Error_Handler();
  }

}

static void MX_TIM11_Init(void)
{

  htim11.Instance = TIM11;
  htim11.Init.Prescaler = 99;
  htim11.Init.CounterMode = TIM_COUNTERMODE_UP;
  htim11.Init.Period = 65535;
  htim11.Init.ClockDivision = TIM_CLOCKDIVISION_DIV1;
  htim11.Init.AutoReloadPreload = TIM_AUTORELOAD_PRELOAD_DISABLE;
  if (HAL_TIM_Base_Init(&htim11) != HAL_OK)
  {
    Error_Handler();
  }

}

static void MX_USART2_UART_Init(void)
{

  huart2.Instance = USART2;
  huart2.Init.BaudRate = 115200;
  huart2.Init.WordLength = UART_WORDLENGTH_8B;
  huart2.Init.StopBits = UART_STOPBITS_1;
  huart2.Init.Parity = UART_PARITY_NONE;
  huart2.Init.Mode = UART_MODE_TX_RX;
  huart2.Init.HwFlowCtl = UART_HWCONTROL_NONE;
  huart2.Init.OverSampling = UART_OVERSAMPLING_16;
  if (HAL_UART_Init(&huart2) != HAL_OK)
  {
    Error_Handler();
  }

}

static void MX_DMA_Init(void)
{

  /* DMA controller clock enable */
  __HAL_RCC_DMA2_CLK_ENABLE();

  /* DMA interrupt init */
  /* DMA2_Stream0_IRQn interrupt configuration */
  HAL_NVIC_SetPriority(DMA2_Stream0_IRQn, 0, 0);
  HAL_NVIC_EnableIRQ(DMA2_Stream0_IRQn);

}

static void MX_GPIO_Init(void)
{
  GPIO_InitTypeDef GPIO_InitStruct = {0};

  /* GPIO Ports Clock Enable */
  __HAL_RCC_GPIOC_CLK_ENABLE();
  __HAL_RCC_GPIOH_CLK_ENABLE();
  __HAL_RCC_GPIOA_CLK_ENABLE();
  __HAL_RCC_GPIOB_CLK_ENABLE();

  /*Configure GPIO pin Output Level */
  HAL_GPIO_WritePin(LD2_GPIO_Port, LD2_Pin, GPIO_PIN_RESET);

  /*Configure GPIO pin Output Level */
  HAL_GPIO_WritePin(SPI_SS_GPIO_Port, SPI_SS_Pin, GPIO_PIN_SET);

  /*Configure GPIO pin Output Level */
  HAL_GPIO_WritePin(SHDN_GPIO_Port, SHDN_Pin, GPIO_PIN_SET);

  /*Configure GPIO pin Output Level */
  HAL_GPIO_WritePin(LOAD_GPIO_Port, LOAD_Pin, GPIO_PIN_SET);

  /*Configure GPIO pin : B1_Pin */
  GPIO_InitStruct.Pin = B1_Pin;
  GPIO_InitStruct.Mode = GPIO_MODE_IT_FALLING;
  GPIO_InitStruct.Pull = GPIO_NOPULL;
  HAL_GPIO_Init(B1_GPIO_Port, &GPIO_InitStruct);

  /*Configure GPIO pins : LD2_Pin LOAD_Pin */
  GPIO_InitStruct.Pin = LD2_Pin|LOAD_Pin;
  GPIO_InitStruct.Mode = GPIO_MODE_OUTPUT_PP;
  GPIO_InitStruct.Pull = GPIO_NOPULL;
  GPIO_InitStruct.Speed = GPIO_SPEED_FREQ_LOW;
  HAL_GPIO_Init(GPIOA, &GPIO_InitStruct);

  /*Configure GPIO pin : SPI_SS_Pin */
  GPIO_InitStruct.Pin = SPI_SS_Pin;
  GPIO_InitStruct.Mode = GPIO_MODE_OUTPUT_PP;
  GPIO_InitStruct.Pull = GPIO_NOPULL;
  GPIO_InitStruct.Speed = GPIO_SPEED_FREQ_LOW;
  HAL_GPIO_Init(SPI_SS_GPIO_Port, &GPIO_InitStruct);

  /*Configure GPIO pin : SHDN_Pin */
  GPIO_InitStruct.Pin = SHDN_Pin;
  GPIO_InitStruct.Mode = GPIO_MODE_OUTPUT_PP;
  GPIO_InitStruct.Pull = GPIO_NOPULL;
  GPIO_InitStruct.Speed = GPIO_SPEED_FREQ_LOW;
  HAL_GPIO_Init(SHDN_GPIO_Port, &GPIO_InitStruct);

}

/* USER CODE BEGIN 4 */
void MCP4922SetOutput(uint8_t Config, uint16_t DACOutput)
{
	uint32_t OutputPacket = (DACOutput & 0x0fff) | ((Config & 0xf) << 12);
	HAL_GPIO_WritePin(SPI_SS_GPIO_Port, SPI_SS_Pin, GPIO_PIN_RESET);
	HAL_SPI_Transmit_IT(&hspi3, &OutputPacket, 1);
}

void HAL_SPI_TxCpltCallback(SPI_HandleTypeDef *hspi)
{
	if (hspi == &hspi3)
	{
		HAL_GPIO_WritePin(SPI_SS_GPIO_Port, SPI_SS_Pin, GPIO_PIN_SET);
	}
}

int16_t UARTRecieveIT() {
static uint32_t dataPos = 0;
int16_t data = -1;
if (huart2.RxXferSize - huart2.RxXferCount != dataPos) {
	data = RxDataBuffer[dataPos];
	dataPos = (dataPos + 1) % huart2.RxXferSize;
}
return data;
}

void HAL_UART_RxCpltCallback(UART_HandleTypeDef *huart) {
sprintf(TxDataBuffer, "Received:[%s]\r\n", RxDataBuffer);
HAL_UART_Transmit_IT(&huart2, (uint8_t*) TxDataBuffer, strlen(TxDataBuffer));
}

void HAL_TIM_PeriodElapsedCallback(TIM_HandleTypeDef *htim)
{
	if (htim == &htim11)
	{
		_micro += 65535;
	}
}

inline uint64_t micros()
{
	return htim11.Instance->CNT + _micro;
}
/* USER CODE END 4 */

void Error_Handler(void)
{
	__disable_irq();
	while (1)
	{
	}
}

/************************ (C) COPYRIGHT STMicroelectronics *****END OF FILE****/
